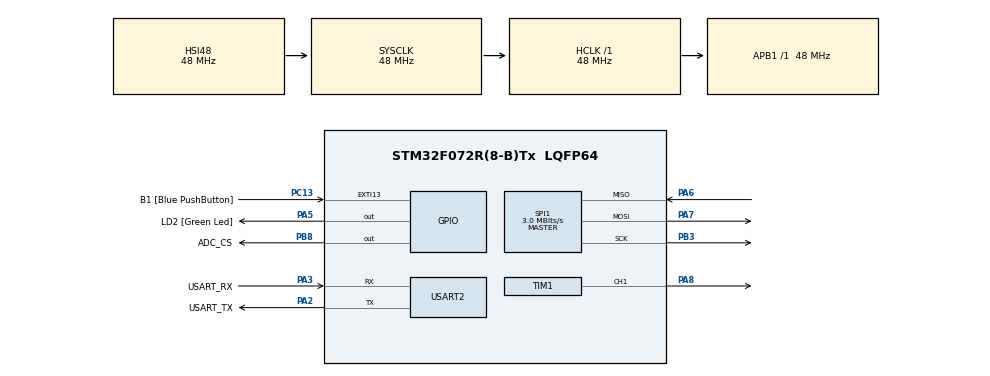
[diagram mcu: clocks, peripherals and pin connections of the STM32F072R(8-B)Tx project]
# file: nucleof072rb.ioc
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Mcu.Family=STM32F0
Mcu.Name=STM32F072R(8-B)Tx
Mcu.Package=LQFP64
PA13.GPIO_Label=TMS
PA13.Mode=Serial_Wire
PA13.Signal=SYS_SWDIO
PA14.GPIO_Label=TCK
PA14.Mode=Serial_Wire
PA14.Signal=SYS_SWCLK
PA2.GPIO_Label=USART_TX
PA2.GPIO_Mode=GPIO_MODE_AF_PP
PA2.GPIO_PuPd=GPIO_NOPULL
PA2.GPIO_Speed=GPIO_SPEED_FREQ_LOW
PA2.Mode=Asynchronous
PA2.Signal=USART2_TX
PA3.GPIO_Label=USART_RX
PA3.GPIO_Mode=GPIO_MODE_AF_PP
PA3.GPIO_PuPd=GPIO_NOPULL
PA3.GPIO_Speed=GPIO_SPEED_FREQ_LOW
PA3.Mode=Asynchronous
PA3.Signal=USART2_RX
PA5.GPIO_Label=LD2 [Green Led]
PA5.GPIO_Mode=GPIO_MODE_OUTPUT_PP
PA5.GPIO_PuPd=GPIO_NOPULL
PA5.GPIO_Speed=GPIO_SPEED_FREQ_LOW
PA5.Signal=GPIO_Output
PA6.Mode=Full_Duplex_Master
PA6.Signal=SPI1_MISO
PA7.Mode=Full_Duplex_Master
PA7.Signal=SPI1_MOSI
PA8.Signal=S_TIM1_CH1
PB3.Mode=Full_Duplex_Master
PB3.Signal=SPI1_SCK
PB8.GPIO_Label=ADC_CS
PB8.Signal=GPIO_Output
PC13.GPIO_Label=B1 [Blue PushButton]
PC13.GPIO_ModeDefaultEXTI=GPIO_MODE_IT_FALLING
PC13.Signal=GPXTI13
PC14-OSC32_IN.Mode=LSE-External-Oscillator
PC14-OSC32_IN.Signal=RCC_OSC32_IN
PC15-OSC32_OUT.Mode=LSE-External-Oscillator
PC15-OSC32_OUT.Signal=RCC_OSC32_OUT
PF0-OSC_IN.Mode=HSE-External-Clock-Source
PF0-OSC_IN.Signal=RCC_OSC_IN
PF1-OSC_OUT.Signal=RCC_OSC_OUT
ProjectManager.HeapSize=0x200
ProjectManager.StackSize=0x400
ProjectManager.TargetToolchain=STM32CubeIDE
RCC.AHBFreq_Value=48000000
RCC.APB1Freq_Value=48000000
RCC.APB1TimFreq_Value=48000000
RCC.FLatency-AdvancedSettings=FLASH_LATENCY_1
RCC.HCLKFreq_Value=48000000
RCC.PLLDivider=RCC_PREDIV_DIV2
RCC.PLLMUL=RCC_PLL_MUL12
RCC.PREFETCH_ENABLE-AdvancedSettings=1
RCC.SYSCLKFreq_VALUE=48000000
RCC.SYSCLKSource=RCC_SYSCLKSOURCE_HSI48
SH.S_TIM1_CH1.0=TIM1_CH1,PWM Generation1 CH1
SPI1.BaudRatePrescaler=SPI_BAUDRATEPRESCALER_16
SPI1.CLKPolarity=SPI_POLARITY_LOW
SPI1.CalculateBaudRate=3.0 MBits/s
SPI1.DataSize=SPI_DATASIZE_8BIT
SPI1.Direction=SPI_DIRECTION_2LINES
SPI1.Mode=SPI_MODE_MASTER
SPI1.VirtualType=VM_MASTER
TIM1.Channel-PWM\ Generation1\ CH1=TIM_CHANNEL_1
TIM1.Period=63999
TIM1.Prescaler=14
USART2.VirtualMode=VM_ASYNC
USART2.VirtualMode-Asynchronous=VM_ASYNC
board=NUCLEO-F072RB

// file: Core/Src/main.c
/* USER CODE BEGIN Header */
/**
  ******************************************************************************
  * @file           : main.c
  * @brief          : Main program body
  ******************************************************************************
  * @attention
  *
  * <h2><center>&copy; Copyright (c) 2021 STMicroelectronics.
  * All rights reserved.</center></h2>
  *
  * This software component is licensed by ST under BSD 3-Clause license,
  * the "License"; You may not use this file except in compliance with the
  * License. You may obtain a copy of the License at:
  *                        opensource.org/licenses/BSD-3-Clause
  *
  ******************************************************************************
  */
/* USER CODE END Header */
#include "main.h"
#include "spi.h"
#include "tim.h"
#include "usart.h"
#include "gpio.h"

/* USER CODE BEGIN PD */

#define ADC_CHANNEL     0
#define ADC_MAX         1023
#define PWM_MIN_COUNTS  3200
#define PWM_MAX_COUNTS  6400

/* USER CODE END PD */

void SystemClock_Config(void);
/* USER CODE BEGIN PFP */
uint16_t read_adc(void);
/* USER CODE END PFP */

int main(void)
{

  /* MCU Configuration--------------------------------------------------------*/

  /* Reset of all peripherals, Initializes the Flash interface and the Systick. */
  HAL_Init();

  /* Configure the system clock */
  SystemClock_Config();

  /* Initialize all configured peripherals */
  MX_GPIO_Init();
  MX_USART2_UART_Init();
  MX_SPI1_Init();
  MX_TIM1_Init();
  /* USER CODE BEGIN 2 */
  HAL_TIM_PWM_Start(&htim1, TIM_CHANNEL_1);
  /* USER CODE END 2 */

  /* Infinite loop */
  while (1)
  {

    /* USER CODE BEGIN 3 */
	  uint16_t adc_value = read_adc();
	  uint32_t counts = PWM_MIN_COUNTS + ((uint32_t)adc_value * (PWM_MAX_COUNTS - PWM_MIN_COUNTS)) / ADC_MAX;
	  __HAL_TIM_SET_COMPARE(&htim1, TIM_CHANNEL_1, counts);
	  HAL_Delay(10);
  }
  /* USER CODE END 3 */
}

void SystemClock_Config(void)
{
  RCC_OscInitTypeDef RCC_OscInitStruct = {0};
  RCC_ClkInitTypeDef RCC_ClkInitStruct = {0};
  RCC_PeriphCLKInitTypeDef PeriphClkInit = {0};

  /** Initializes the RCC Oscillators according to the specified parameters
  * in the RCC_OscInitTypeDef structure.
  */
  RCC_OscInitStruct.OscillatorType = RCC_OSCILLATORTYPE_HSI48;
  RCC_OscInitStruct.HSI48State = RCC_HSI48_ON;
  RCC_OscInitStruct.PLL.PLLState = RCC_PLL_NONE;
  if (HAL_RCC_OscConfig(&RCC_OscInitStruct) != HAL_OK)
  {
    Error_Handler();
  }
  /** Initializes the CPU, AHB and APB buses clocks
  */
  RCC_ClkInitStruct.ClockType = RCC_CLOCKTYPE_HCLK|RCC_CLOCKTYPE_SYSCLK
                              |RCC_CLOCKTYPE_PCLK1;
  RCC_ClkInitStruct.SYSCLKSource = RCC_SYSCLKSOURCE_HSI48;
  RCC_ClkInitStruct.AHBCLKDivider = RCC_SYSCLK_DIV1;
  RCC_ClkInitStruct.APB1CLKDivider = RCC_HCLK_DIV1;

  if (HAL_RCC_ClockConfig(&RCC_ClkInitStruct, FLASH_LATENCY_1) != HAL_OK)
  {
    Error_Handler();
  }
  PeriphClkInit.PeriphClockSelection = RCC_PERIPHCLK_USART2;
  PeriphClkInit.Usart2ClockSelection = RCC_USART2CLKSOURCE_PCLK1;
  if (HAL_RCCEx_PeriphCLKConfig(&PeriphClkInit) != HAL_OK)
  {
    Error_Handler();
  }
}

/* USER CODE BEGIN 4 */
uint16_t read_adc(void)
{
    uint8_t tx[3] = {0x01, 0x80 | (ADC_CHANNEL << 4), 0x00};
    uint8_t rx[3] = {0};

    HAL_GPIO_WritePin(GPIOB, GPIO_PIN_8, GPIO_PIN_RESET);
    HAL_SPI_TransmitReceive(&hspi1, tx, rx, 3, HAL_MAX_DELAY);
    HAL_GPIO_WritePin(GPIOB, GPIO_PIN_8, GPIO_PIN_SET);

    return ((rx[1] & 0x03) << 8) | rx[2];
}
/* USER CODE END 4 */

void Error_Handler(void)
{
  __disable_irq();
  while (1)
  {
  }
}

/************************ (C) COPYRIGHT STMicroelectronics *****END OF FILE****/
